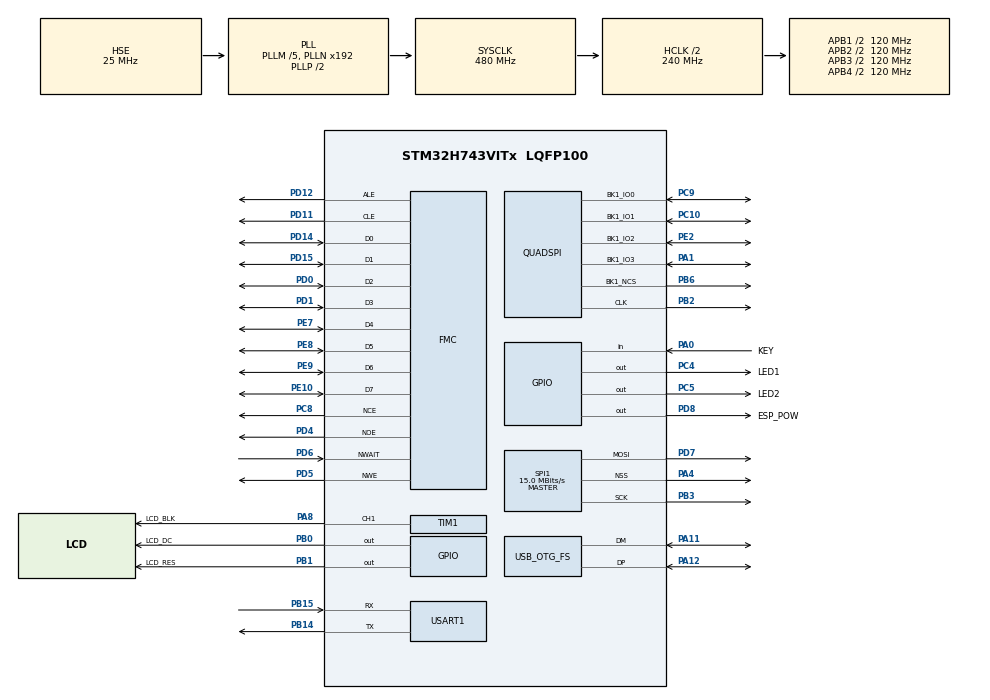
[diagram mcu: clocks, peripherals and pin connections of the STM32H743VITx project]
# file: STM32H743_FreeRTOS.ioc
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Dma.Request0=SPI1_TX
Dma.Request1=USART1_RX
Dma.Request2=USART1_TX
Dma.SPI1_TX.0.Direction=DMA_MEMORY_TO_PERIPH
Dma.SPI1_TX.0.EventEnable=DISABLE
Dma.SPI1_TX.0.FIFOMode=DMA_FIFOMODE_DISABLE
Dma.SPI1_TX.0.Instance=DMA1_Stream0
Dma.SPI1_TX.0.MemDataAlignment=DMA_MDATAALIGN_BYTE
Dma.SPI1_TX.0.MemInc=DMA_MINC_ENABLE
Dma.SPI1_TX.0.Mode=DMA_NORMAL
Dma.SPI1_TX.0.PeriphDataAlignment=DMA_PDATAALIGN_BYTE
Dma.SPI1_TX.0.PeriphInc=DMA_PINC_DISABLE
Dma.SPI1_TX.0.Polarity=HAL_DMAMUX_REQ_GEN_RISING
Dma.SPI1_TX.0.Priority=DMA_PRIORITY_LOW
Dma.SPI1_TX.0.RequestNumber=1
Dma.SPI1_TX.0.SignalID=NONE
Dma.SPI1_TX.0.SyncEnable=DISABLE
Dma.SPI1_TX.0.SyncPolarity=HAL_DMAMUX_SYNC_NO_EVENT
Dma.SPI1_TX.0.SyncRequestNumber=1
Dma.SPI1_TX.0.SyncSignalID=NONE
Dma.USART1_RX.1.Direction=DMA_PERIPH_TO_MEMORY
Dma.USART1_RX.1.EventEnable=DISABLE
Dma.USART1_RX.1.FIFOMode=DMA_FIFOMODE_DISABLE
Dma.USART1_RX.1.Instance=DMA1_Stream1
Dma.USART1_RX.1.MemDataAlignment=DMA_MDATAALIGN_BYTE
Dma.USART1_RX.1.MemInc=DMA_MINC_ENABLE
Dma.USART1_RX.1.Mode=DMA_CIRCULAR
Dma.USART1_RX.1.PeriphDataAlignment=DMA_PDATAALIGN_BYTE
Dma.USART1_RX.1.PeriphInc=DMA_PINC_DISABLE
Dma.USART1_RX.1.Polarity=HAL_DMAMUX_REQ_GEN_RISING
Dma.USART1_RX.1.Priority=DMA_PRIORITY_VERY_HIGH
Dma.USART1_RX.1.RequestNumber=1
Dma.USART1_RX.1.SignalID=NONE
Dma.USART1_RX.1.SyncEnable=DISABLE
Dma.USART1_RX.1.SyncPolarity=HAL_DMAMUX_SYNC_NO_EVENT
Dma.USART1_RX.1.SyncRequestNumber=1
Dma.USART1_RX.1.SyncSignalID=NONE
Dma.USART1_TX.2.Direction=DMA_MEMORY_TO_PERIPH
Dma.USART1_TX.2.EventEnable=DISABLE
Dma.USART1_TX.2.FIFOMode=DMA_FIFOMODE_DISABLE
Dma.USART1_TX.2.Instance=DMA1_Stream2
Dma.USART1_TX.2.MemDataAlignment=DMA_MDATAALIGN_BYTE
Dma.USART1_TX.2.MemInc=DMA_MINC_ENABLE
Dma.USART1_TX.2.Mode=DMA_NORMAL
Dma.USART1_TX.2.PeriphDataAlignment=DMA_PDATAALIGN_BYTE
Dma.USART1_TX.2.PeriphInc=DMA_PINC_DISABLE
Dma.USART1_TX.2.Polarity=HAL_DMAMUX_REQ_GEN_RISING
Dma.USART1_TX.2.Priority=DMA_PRIORITY_VERY_HIGH
Dma.USART1_TX.2.RequestNumber=1
Dma.USART1_TX.2.SignalID=NONE
Dma.USART1_TX.2.SyncEnable=DISABLE
Dma.USART1_TX.2.SyncPolarity=HAL_DMAMUX_SYNC_NO_EVENT
Dma.USART1_TX.2.SyncRequestNumber=1
Dma.USART1_TX.2.SyncSignalID=NONE
FMC.AttributeSpaceHiZSetupTime1=2
FMC.AttributeSpaceHoldSetupTime1=3
FMC.AttributeSpaceSetupTime1=2
FMC.AttributeSpaceWaitSetupTime1=4
FMC.CommonSpaceHiZSetupTime1=2
FMC.CommonSpaceHoldSetupTime1=3
FMC.CommonSpaceSetupTime1=2
FMC.CommonSpaceWaitSetupTime1=4
FMC.ECCPageSize1=FMC_NAND_ECC_PAGE_SIZE_2048BYTE
FMC.NandBlockNbr1=2048
FMC.NandBlockSize1=2048*64
FMC.NandPageSize1=2048+64
FMC.NandPlaneNbr1=2
FMC.NandPlaneSize1=4096
FMC.NandSpareAreaSize1=64
FREERTOS.BinarySemaphores01=Uart_Time_Out_Binary_Sem,Dynamic,NULL;Key_ON_Binary_Sem,Dynamic,NULL
FREERTOS.INCLUDE_vTaskDelayUntil=1
FREERTOS.Tasks01=defaultTask,0,128,StartDefaultTask,Default,NULL,Dynamic,NULL,NULL;KEY_Task,1,256,Start_KEY_Task,Default,NULL,Dynamic,NULL,NULL;LCD_Task,0,256,Start_LCD_Task,Default,NULL,Dynamic,NULL,NULL;Usart_Task,2,512,Start_Usart_Task,Default,NULL,Dynamic,NULL,NULL
FREERTOS.configCHECK_FOR_STACK_OVERFLOW=1
FREERTOS.configGENERATE_RUN_TIME_STATS=1
FREERTOS.configMAX_PRIORITIES=7
FREERTOS.configMINIMAL_STACK_SIZE=128
FREERTOS.configUSE_STATS_FORMATTING_FUNCTIONS=1
FREERTOS.configUSE_TIMERS=1
FREERTOS.configUSE_TRACE_FACILITY=1
Mcu.Family=STM32H7
Mcu.Name=STM32H743VITx
Mcu.Package=LQFP100
Mdma.MDMA_Channel1.QUADSPI_FIFO_TH.0.BlockCount=0
Mdma.MDMA_Channel1.QUADSPI_FIFO_TH.0.BlockDataLength=0
Mdma.MDMA_Channel1.QUADSPI_FIFO_TH.0.BufferTransferLength=128
Mdma.MDMA_Channel1.QUADSPI_FIFO_TH.0.CircularMode=MDMA_LINEAR_LIST
Mdma.MDMA_Channel1.QUADSPI_FIFO_TH.0.DataAlignment=MDMA_DATAALIGN_PACKENABLE
Mdma.MDMA_Channel1.QUADSPI_FIFO_TH.0.DestBlockAddressOffset=0
Mdma.MDMA_Channel1.QUADSPI_FIFO_TH.0.DestBurst=MDMA_DEST_BURST_SINGLE
Mdma.MDMA_Channel1.QUADSPI_FIFO_TH.0.DestDataSize=MDMA_DEST_DATASIZE_BYTE
Mdma.MDMA_Channel1.QUADSPI_FIFO_TH.0.DestinationInc=MDMA_DEST_INC_DISABLE
Mdma.MDMA_Channel1.QUADSPI_FIFO_TH.0.DstAddress=0
Mdma.MDMA_Channel1.QUADSPI_FIFO_TH.0.Endianness=MDMA_LITTLE_ENDIANNESS_PRESERVE
Mdma.MDMA_Channel1.QUADSPI_FIFO_TH.0.Instance=MDMA_Channel1
Mdma.MDMA_Channel1.QUADSPI_FIFO_TH.0.MaskAddress=0
Mdma.MDMA_Channel1.QUADSPI_FIFO_TH.0.MaskData=0
Mdma.MDMA_Channel1.QUADSPI_FIFO_TH.0.Priority=MDMA_PRIORITY_LOW
Mdma.MDMA_Channel1.QUADSPI_FIFO_TH.0.Rank=First
Mdma.MDMA_Channel1.QUADSPI_FIFO_TH.0.SourceBlockAddressOffset=0
Mdma.MDMA_Channel1.QUADSPI_FIFO_TH.0.SourceBurst=MDMA_SOURCE_BURST_SINGLE
Mdma.MDMA_Channel1.QUADSPI_FIFO_TH.0.SourceDataSize=MDMA_SRC_DATASIZE_BYTE
Mdma.MDMA_Channel1.QUADSPI_FIFO_TH.0.SourceInc=MDMA_SRC_INC_BYTE
Mdma.MDMA_Channel1.QUADSPI_FIFO_TH.0.SrcAddress=0
Mdma.MDMA_Channel1.QUADSPI_FIFO_TH.0.TransferTriggerMode=MDMA_BUFFER_TRANSFER
Mdma.MDMA_Channel1.Request0=QUADSPI_FIFO_TH
Mdma.MDMA_Channel1.RequestsNb=1
Mdma.RequestSet0=MDMA_Channel1
Mdma.RequestSetsNb=1
NVIC.DMA1_Stream0_IRQn=true\:5\:0\:false\:false\:true\:true\:false\:true\:true
NVIC.DMA1_Stream1_IRQn=true\:5\:0\:false\:false\:true\:true\:false\:true\:true
NVIC.DMA1_Stream2_IRQn=true\:5\:0\:false\:false\:true\:true\:false\:true\:true
NVIC.MDMA_IRQn=true\:5\:0\:false\:false\:true\:true\:false\:true\:true
NVIC.OTG_FS_IRQn=true\:5\:0\:false\:false\:true\:true\:true\:true\:true
NVIC.PriorityGroup=NVIC_PRIORITYGROUP_4
NVIC.QUADSPI_IRQn=true\:5\:0\:false\:false\:true\:true\:true\:true\:true
NVIC.SPI1_IRQn=true\:5\:0\:false\:false\:true\:true\:true\:true\:true
NVIC.TIM17_IRQn=true\:15\:0\:false\:false\:true\:false\:false\:true\:true
NVIC.TIM8_TRG_COM_TIM14_IRQn=true\:5\:0\:true\:false\:true\:true\:true\:true\:true
NVIC.TIM8_UP_TIM13_IRQn=true\:5\:0\:false\:false\:true\:true\:true\:true\:true
NVIC.TimeBase=TIM17_IRQn
NVIC.TimeBaseIP=TIM17
NVIC.USART1_IRQn=true\:5\:0\:false\:false\:true\:true\:true\:true\:true
PA0.GPIO_Label=KEY
PA0.GPIO_PuPd=GPIO_PULLDOWN
PA0.Signal=GPIO_Input
PA1.GPIO_Speed=GPIO_SPEED_FREQ_VERY_HIGH
PA1.Mode=Single Bank 1
PA1.Signal=QUADSPI_BK1_IO3
PA11.Mode=Device_Only
PA11.Signal=USB_OTG_FS_DM
PA12.Mode=Device_Only
PA12.Signal=USB_OTG_FS_DP
PA13\ (JTMS/SWDIO).Mode=Serial_Wire
PA13\ (JTMS/SWDIO).Signal=DEBUG_JTMS-SWDIO
PA14\ (JTCK/SWCLK).Mode=Serial_Wire
PA14\ (JTCK/SWCLK).Signal=DEBUG_JTCK-SWCLK
PA4.GPIO_Speed=GPIO_SPEED_FREQ_VERY_HIGH
PA4.Mode=NSS_Signal_Hard_Output
PA4.Signal=SPI1_NSS
PA8.GPIO_Label=LCD_BLK
PA8.Signal=S_TIM1_CH1
PB0.GPIO_Label=LCD_DC
PB0.GPIO_Speed=GPIO_SPEED_FREQ_VERY_HIGH
PB0.Signal=GPIO_Output
PB1.GPIO_Label=LCD_RES
PB1.GPIO_Speed=GPIO_SPEED_FREQ_VERY_HIGH
PB1.Signal=GPIO_Output
PB14.Mode=Asynchronous
PB14.Signal=USART1_TX
PB15.GPIO_PuPd=GPIO_PULLUP
PB15.Mode=Asynchronous
PB15.Signal=USART1_RX
PB2.GPIO_Speed=GPIO_SPEED_FREQ_VERY_HIGH
PB2.Mode=Single Bank 1
PB2.Signal=QUADSPI_CLK
PB3\ (JTDO/TRACESWO).GPIO_Speed=GPIO_SPEED_FREQ_VERY_HIGH
PB3\ (JTDO/TRACESWO).Mode=TX_Only_Simplex_Unidirect_Master
PB3\ (JTDO/TRACESWO).Signal=SPI1_SCK
PB6.GPIO_Speed=GPIO_SPEED_FREQ_VERY_HIGH
PB6.Mode=Single Bank 1
PB6.Signal=QUADSPI_BK1_NCS
PC10.GPIO_Speed=GPIO_SPEED_FREQ_VERY_HIGH
PC10.Mode=Single Bank 1
PC10.Signal=QUADSPI_BK1_IO1
PC14-OSC32_IN\ (OSC32_IN).Mode=LSE-External-Oscillator
PC14-OSC32_IN\ (OSC32_IN).Signal=RCC_OSC32_IN
PC15-OSC32_OUT\ (OSC32_OUT).Mode=LSE-External-Oscillator
PC15-OSC32_OUT\ (OSC32_OUT).Signal=RCC_OSC32_OUT
PC4.GPIO_Label=LED1
PC4.GPIO_PuPd=GPIO_PULLUP
PC4.PinState=GPIO_PIN_SET
PC4.Signal=GPIO_Output
PC5.GPIO_Label=LED2
PC5.GPIO_PuPd=GPIO_PULLUP
PC5.PinState=GPIO_PIN_SET
PC5.Signal=GPIO_Output
PC8.Mode=NandChipSelect3_1
PC8.Signal=FMC_NCE
PC9.GPIO_PuPd=GPIO_NOPULL
PC9.GPIO_Speed=GPIO_SPEED_FREQ_VERY_HIGH
PC9.Mode=Single Bank 1
PC9.Signal=QUADSPI_BK1_IO0
PD0.Signal=FMC_D2_DA2
PD1.Signal=FMC_D3_DA3
PD11.Signal=FMC_A16_CLE
PD12.Signal=FMC_A17_ALE
PD14.Signal=FMC_D0_DA0
PD15.Signal=FMC_D1_DA1
PD4.Signal=FMC_NOE
PD5.Signal=FMC_NWE
PD6.GPIO_PuPd=GPIO_PULLUP
PD6.Signal=FMC_NWAIT
PD7.GPIO_Speed=GPIO_SPEED_FREQ_VERY_HIGH
PD7.Mode=TX_Only_Simplex_Unidirect_Master
PD7.Signal=SPI1_MOSI
PD8.GPIO_Label=ESP_POW
PD8.GPIO_PuPd=GPIO_PULLDOWN
PD8.Signal=GPIO_Output
PE10.Signal=FMC_D7_DA7
PE2.GPIO_Speed=GPIO_SPEED_FREQ_VERY_HIGH
PE2.Mode=Single Bank 1
PE2.Signal=QUADSPI_BK1_IO2
PE7.Signal=FMC_D4_DA4
PE8.Signal=FMC_D5_DA5
PE9.Signal=FMC_D6_DA6
PH0-OSC_IN\ (PH0).Mode=HSE-External-Oscillator
PH0-OSC_IN\ (PH0).Signal=RCC_OSC_IN
PH1-OSC_OUT\ (PH1).Mode=HSE-External-Oscillator
PH1-OSC_OUT\ (PH1).Signal=RCC_OSC_OUT
ProjectManager.HeapSize=0x200
ProjectManager.StackSize=0x800
ProjectManager.TargetToolchain=MDK-ARM V5.32
QUADSPI.ChipSelectHighTime=QSPI_CS_HIGH_TIME_2_CYCLE
QUADSPI.ClockPrescaler=2-1
QUADSPI.FifoThreshold=32
QUADSPI.FlashSize=23+1
QUADSPI.SampleShifting=QSPI_SAMPLE_SHIFTING_HALFCYCLE
RCC.ADCFreq_Value=120000000
RCC.APB1Freq_Value=120000000
RCC.APB2Freq_Value=120000000
RCC.APB3Freq_Value=120000000
RCC.APB4Freq_Value=120000000
RCC.CortexFreq_Value=480000000
RCC.D1PPRE=RCC_APB3_DIV2
RCC.D2PPRE1=RCC_APB1_DIV2
RCC.D2PPRE2=RCC_APB2_DIV2
RCC.D3PPRE=RCC_APB4_DIV2
RCC.DIVM1=5
RCC.DIVM2=5
RCC.DIVM3=25
RCC.DIVN1=192
RCC.DIVN2=48
RCC.DIVN3=240
RCC.DIVQ1=5
RCC.DIVQ3=5
RCC.DIVR1=5
RCC.HCLKFreq_Value=240000000
RCC.HPRE=RCC_HCLK_DIV2
RCC.PLL2FRACN=0
RCC.PLL3FRACN=0
RCC.PLLFRACN=0
RCC.PLLSourceVirtual=RCC_PLLSOURCE_HSE
RCC.QSPICLockSelection=RCC_QSPICLKSOURCE_PLL
RCC.SPI123CLockSelection=RCC_SPI123CLKSOURCE_PLL2
RCC.SYSCLKFreq_VALUE=480000000
RCC.SYSCLKSource=RCC_SYSCLKSOURCE_PLLCLK
RCC.USBCLockSelection=RCC_USBCLKSOURCE_PLL3
RCC.USBFreq_Value=48000000
SH.FMC_A16_CLE.0=FMC_CLE,8b-dmux1
SH.FMC_A17_ALE.0=FMC_ALE,8b-dmux1
SH.FMC_D0_DA0.0=FMC_D0,8b-dmux1
SH.FMC_D1_DA1.0=FMC_D1,8b-dmux1
SH.FMC_D2_DA2.0=FMC_D2,8b-dmux1
SH.FMC_D3_DA3.0=FMC_D3,8b-dmux1
SH.FMC_D4_DA4.0=FMC_D4,8b-dmux1
SH.FMC_D5_DA5.0=FMC_D5,8b-dmux1
SH.FMC_D6_DA6.0=FMC_D6,8b-dmux1
SH.FMC_D7_DA7.0=FMC_D7,8b-dmux1
SH.FMC_NOE.0=FMC_NOE,8b-dmux1
SH.FMC_NWAIT.0=FMC_NWAIT,Wait1
SH.FMC_NWE.0=FMC_NWE,8b-dmux1
SH.S_TIM1_CH1.0=TIM1_CH1,PWM Generation1 CH1
SPI1.BaudRatePrescaler=SPI_BAUDRATEPRESCALER_8
SPI1.CalculateBaudRate=15.0 MBits/s
SPI1.DataSize=SPI_DATASIZE_8BIT
SPI1.Direction=SPI_DIRECTION_2LINES_TXONLY
SPI1.Mode=SPI_MODE_MASTER
SPI1.VirtualNSS=VM_NSSHARD
SPI1.VirtualType=VM_MASTER
TIM1.Channel-PWM\ Generation1\ CH1=TIM_CHANNEL_1
TIM1.Period=1000-1
TIM1.Prescaler=24-1
TIM13.Period=5000-1
TIM13.Prescaler=240-1
TIM14.AutoReloadPreload=TIM_AUTORELOAD_PRELOAD_ENABLE
TIM14.Period=2400-1
TIM14.Prescaler=5-1
USART1.VirtualMode-Asynchronous=VM_ASYNC
USB_OTG_FS.VirtualMode=Device_Only
VP_FREERTOS_VS_CMSIS_V1.Mode=CMSIS_V1
VP_SYS_VS_tim17.Mode=TIM17
VP_TIM13_VS_ClockSourceINT.Mode=Enable_Timer
VP_TIM14_VS_ClockSourceINT.Mode=Enable_Timer
VP_TIM1_VS_ClockSourceINT.Mode=Internal
board=custom

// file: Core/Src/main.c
/* USER CODE BEGIN Header */
/**
  ******************************************************************************
  * @file           : main.c
  * @brief          : Main program body
  ******************************************************************************
  * @attention
  *
  * Copyright (c) 2022 STMicroelectronics.
  * All rights reserved.
  *
  * This software is licensed under terms that can be found in the LICENSE file
  * in the root directory of this software component.
  * If no LICENSE file comes with this software, it is provided AS-IS.
  *
  ******************************************************************************
  */
/* USER CODE END Header */
#include "main.h"
#include "cmsis_os.h"
#include "dma.h"
#include "mdma.h"
#include "quadspi.h"
#include "spi.h"
#include "tim.h"
#include "usart.h"
#include "usb_otg.h"
#include "gpio.h"
#include "fmc.h"

/* USER CODE BEGIN Includes */
#include "st7735s.h"
#include "fonts.h"
#include "gfx.h"
/* USER CODE END Includes */

/* USER CODE BEGIN PV */
extern osSemaphoreId Uart_Time_Out_Binary_SemHandle;
/* USER CODE END PV */

void SystemClock_Config(void);
void MX_FREERTOS_Init(void);

/* USER CODE BEGIN 0 */
uint32_t g_JumpInit __attribute__((at(0x20000000), zero_init));

/* USER CODE END 0 */

int main(void)
{
  /* USER CODE BEGIN 1 */
  /*设置中断偏移*/
  SCB->VTOR = FLASH_BASE | 0x100000;

 // g_JumpInit = 2;
  /* USER CODE END 1 */

  /* MCU Configuration--------------------------------------------------------*/

  /* Reset of all peripherals, Initializes the Flash interface and the Systick. */
  HAL_Init();

  /* Configure the system clock */
  SystemClock_Config();

  /* Initialize all configured peripherals */
  MX_GPIO_Init();
  MX_DMA_Init();
  MX_USART1_UART_Init();
  MX_QUADSPI_Init();
  MX_MDMA_Init();
  MX_SPI1_Init();
  MX_USB_OTG_FS_PCD_Init();
  MX_FMC_Init();
  MX_TIM14_Init();
  MX_TIM1_Init();
  MX_TIM13_Init();
  /* USER CODE BEGIN 2 */
  //打开任务统计功能的定时器
  HAL_TIM_Base_Start_IT(&htim14);

  //LCD初始化
  ST7735S_Init();

  /* USER CODE END 2 */

  /* Call init function for freertos objects (in freertos.c) */
  MX_FREERTOS_Init();

  /* Start scheduler */
  osKernelStart();

  /* We should never get here as control is now taken by the scheduler */
  /* Infinite loop */
  while (1)
  {

  }
}

void SystemClock_Config(void)
{
  RCC_OscInitTypeDef RCC_OscInitStruct = {0};
  RCC_ClkInitTypeDef RCC_ClkInitStruct = {0};

  /** Supply configuration update enable
  */
  HAL_PWREx_ConfigSupply(PWR_LDO_SUPPLY);

  /** Configure the main internal regulator output voltage
  */
  __HAL_PWR_VOLTAGESCALING_CONFIG(PWR_REGULATOR_VOLTAGE_SCALE0);

  while(!__HAL_PWR_GET_FLAG(PWR_FLAG_VOSRDY)) {}

  /** Macro to configure the PLL clock source
  */
  __HAL_RCC_PLL_PLLSOURCE_CONFIG(RCC_PLLSOURCE_HSE);

  /** Initializes the RCC Oscillators according to the specified parameters
  * in the RCC_OscInitTypeDef structure.
  */
  RCC_OscInitStruct.OscillatorType = RCC_OSCILLATORTYPE_HSE;
  RCC_OscInitStruct.HSEState = RCC_HSE_ON;
  RCC_OscInitStruct.PLL.PLLState = RCC_PLL_ON;
  RCC_OscInitStruct.PLL.PLLSource = RCC_PLLSOURCE_HSE;
  RCC_OscInitStruct.PLL.PLLM = 5;
  RCC_OscInitStruct.PLL.PLLN = 192;
  RCC_OscInitStruct.PLL.PLLP = 2;
  RCC_OscInitStruct.PLL.PLLQ = 5;
  RCC_OscInitStruct.PLL.PLLR = 5;
  RCC_OscInitStruct.PLL.PLLRGE = RCC_PLL1VCIRANGE_2;
  RCC_OscInitStruct.PLL.PLLVCOSEL = RCC_PLL1VCOWIDE;
  RCC_OscInitStruct.PLL.PLLFRACN = 0;
  if (HAL_RCC_OscConfig(&RCC_OscInitStruct) != HAL_OK)
  {
    Error_Handler();
  }

  /** Initializes the CPU, AHB and APB buses clocks
  */
  RCC_ClkInitStruct.ClockType = RCC_CLOCKTYPE_HCLK|RCC_CLOCKTYPE_SYSCLK
                              |RCC_CLOCKTYPE_PCLK1|RCC_CLOCKTYPE_PCLK2
                              |RCC_CLOCKTYPE_D3PCLK1|RCC_CLOCKTYPE_D1PCLK1;
  RCC_ClkInitStruct.SYSCLKSource = RCC_SYSCLKSOURCE_PLLCLK;
  RCC_ClkInitStruct.SYSCLKDivider = RCC_SYSCLK_DIV1;
  RCC_ClkInitStruct.AHBCLKDivider = RCC_HCLK_DIV2;
  RCC_ClkInitStruct.APB3CLKDivider = RCC_APB3_DIV2;
  RCC_ClkInitStruct.APB1CLKDivider = RCC_APB1_DIV2;
  RCC_ClkInitStruct.APB2CLKDivider = RCC_APB2_DIV2;
  RCC_ClkInitStruct.APB4CLKDivider = RCC_APB4_DIV2;

  if (HAL_RCC_ClockConfig(&RCC_ClkInitStruct, FLASH_LATENCY_4) != HAL_OK)
  {
    Error_Handler();
  }
}

/* USER CODE BEGIN 4 */
extern volatile uint32_t ulHighFrequencyTimerTicks;
/* USER CODE END 4 */

void HAL_TIM_PeriodElapsedCallback(TIM_HandleTypeDef *htim)
{
  /* USER CODE BEGIN Callback 0 */
  if (htim->Instance == TIM17) {
    HAL_IncTick();
  }
  /* USER CODE END Callback 0 */
  if (htim->Instance == TIM14) {
    ulHighFrequencyTimerTicks++;
  }
  /* USER CODE BEGIN Callback 1 */
  if(htim->Instance == TIM13)
  {
    HAL_TIM_Base_Stop(&htim13);
    osSemaphoreRelease(Uart_Time_Out_Binary_SemHandle);
  }
  /* USER CODE END Callback 1 */
}

void Error_Handler(void)
{
  __disable_irq();
  while (1)
  {
  }
}

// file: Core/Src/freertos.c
/* USER CODE BEGIN Header */
/**
 ******************************************************************************
 * File Name          : freertos.c
 * Description        : Code for freertos applications
 ******************************************************************************
 * @attention
 *
 * Copyright (c) 2022 STMicroelectronics.
 * All rights reserved.
 *
 * This software is licensed under terms that can be found in the LICENSE file
 * in the root directory of this software component.
 * If no LICENSE file comes with this software, it is provided AS-IS.
 *
 ******************************************************************************
 */
/* USER CODE END Header */

#include "FreeRTOS.h"
#include "task.h"
#include "main.h"
#include "cmsis_os.h"

/* USER CODE BEGIN Includes */
#include "LCD_Task.h"
#include "Uart_Task.h"
#include "KEY_Task.h"

/* USER CODE END Includes */

osThreadId defaultTaskHandle;
osThreadId KEY_TaskHandle;
osThreadId LCD_TaskHandle;
osThreadId Usart_TaskHandle;
osSemaphoreId Uart_Time_Out_Binary_SemHandle;
osSemaphoreId Key_ON_Binary_SemHandle;

void StartDefaultTask(void const * argument);
void Start_KEY_Task(void const * argument);
void Start_LCD_Task(void const * argument);
void Start_Usart_Task(void const * argument);

void MX_FREERTOS_Init(void); /* (MISRA C 2004 rule 8.1) */

/* GetIdleTaskMemory prototype (linked to static allocation support) */
void vApplicationGetIdleTaskMemory( StaticTask_t **ppxIdleTaskTCBBuffer, StackType_t **ppxIdleTaskStackBuffer, uint32_t *pulIdleTaskStackSize );

/* GetTimerTaskMemory prototype (linked to static allocation support) */
void vApplicationGetTimerTaskMemory( StaticTask_t **ppxTimerTaskTCBBuffer, StackType_t **ppxTimerTaskStackBuffer, uint32_t *pulTimerTaskStackSize );

/* Hook prototypes */
void configureTimerForRunTimeStats(void);
unsigned long getRunTimeCounterValue(void);
void vApplicationStackOverflowHook(xTaskHandle xTask, signed char *pcTaskName);

/* USER CODE BEGIN 1 */
/* Functions needed when configGENERATE_RUN_TIME_STATS is on */
#if (configGENERATE_RUN_TIME_STATS == 1)
volatile uint32_t ulHighFrequencyTimerTicks;
#endif

__weak void configureTimerForRunTimeStats(void)
{
#if (configGENERATE_RUN_TIME_STATS == 1)
  ulHighFrequencyTimerTicks = 0;
#endif
}

__weak unsigned long getRunTimeCounterValue(void)
{
#if (configGENERATE_RUN_TIME_STATS == 1)
  return ulHighFrequencyTimerTicks;
#else
  return 0;
#endif
}
/* USER CODE END 1 */

/* USER CODE BEGIN 4 */
__weak void vApplicationStackOverflowHook(xTaskHandle xTask, signed char *pcTaskName)
{
  /* Run time stack overflow checking is performed if
  configCHECK_FOR_STACK_OVERFLOW is defined to 1 or 2. This hook function is
  called if a stack overflow is detected. */

  uint8_t Buff[50] = "Task:";
  strcat((char *)Buff, (char *)pcTaskName);
  strcat((char *)Buff, " Stack is overflow!\r\n");

  User_UART_Write(&huart1, Buff, sizeof(Buff));
  User_UART_Poll_DMA_TX(&huart1);
}
/* USER CODE END 4 */

/* USER CODE BEGIN GET_IDLE_TASK_MEMORY */
static StaticTask_t xIdleTaskTCBBuffer;
static StackType_t xIdleStack[configMINIMAL_STACK_SIZE];

void vApplicationGetIdleTaskMemory(StaticTask_t **ppxIdleTaskTCBBuffer, StackType_t **ppxIdleTaskStackBuffer, uint32_t *pulIdleTaskStackSize)
{
  *ppxIdleTaskTCBBuffer = &xIdleTaskTCBBuffer;
  *ppxIdleTaskStackBuffer = &xIdleStack[0];
  *pulIdleTaskStackSize = configMINIMAL_STACK_SIZE;
  /* place for user code */
}
/* USER CODE END GET_IDLE_TASK_MEMORY */

/* USER CODE BEGIN GET_TIMER_TASK_MEMORY */
static StaticTask_t xTimerTaskTCBBuffer;
static StackType_t xTimerStack[configTIMER_TASK_STACK_DEPTH];

void vApplicationGetTimerTaskMemory(StaticTask_t **ppxTimerTaskTCBBuffer, StackType_t **ppxTimerTaskStackBuffer, uint32_t *pulTimerTaskStackSize)
{
  *ppxTimerTaskTCBBuffer = &xTimerTaskTCBBuffer;
  *ppxTimerTaskStackBuffer = &xTimerStack[0];
  *pulTimerTaskStackSize = configTIMER_TASK_STACK_DEPTH;
  /* place for user code */
}
/* USER CODE END GET_TIMER_TASK_MEMORY */

void MX_FREERTOS_Init(void) {

  /* Create the semaphores(s) */
  /* definition and creation of Uart_Time_Out_Binary_Sem */
  osSemaphoreDef(Uart_Time_Out_Binary_Sem);
  Uart_Time_Out_Binary_SemHandle = osSemaphoreCreate(osSemaphore(Uart_Time_Out_Binary_Sem), 1);

  /* definition and creation of Key_ON_Binary_Sem */
  osSemaphoreDef(Key_ON_Binary_Sem);
  Key_ON_Binary_SemHandle = osSemaphoreCreate(osSemaphore(Key_ON_Binary_Sem), 1);

  /* Create the thread(s) */
  /* definition and creation of defaultTask */
  osThreadDef(defaultTask, StartDefaultTask, osPriorityNormal, 0, 128);
  defaultTaskHandle = osThreadCreate(osThread(defaultTask), NULL);

  /* definition and creation of KEY_Task */
  osThreadDef(KEY_Task, Start_KEY_Task, osPriorityAboveNormal, 0, 256);
  KEY_TaskHandle = osThreadCreate(osThread(KEY_Task), NULL);

  /* definition and creation of LCD_Task */
  osThreadDef(LCD_Task, Start_LCD_Task, osPriorityNormal, 0, 256);
  LCD_TaskHandle = osThreadCreate(osThread(LCD_Task), NULL);

  /* definition and creation of Usart_Task */
  osThreadDef(Usart_Task, Start_Usart_Task, osPriorityHigh, 0, 512);
  Usart_TaskHandle = osThreadCreate(osThread(Usart_Task), NULL);

}

void StartDefaultTask(void const * argument)
{
  /* USER CODE BEGIN StartDefaultTask */
  /* Infinite loop */
  for (;;)
  {
    HAL_GPIO_TogglePin(LED1_GPIO_Port, LED1_Pin);
    osDelay(800);
  }
  /* USER CODE END StartDefaultTask */
}

void Start_KEY_Task(void const * argument)
{
  /* USER CODE BEGIN Start_KEY_Task */

  /* Infinite loop */
  KEY_Task(argument);

  /* USER CODE END Start_KEY_Task */
}

void Start_LCD_Task(void const * argument)
{
  /* USER CODE BEGIN Start_LCD_Task */

  /* Infinite loop */
  LCD_Task(argument);

  /* USER CODE END Start_LCD_Task */
}

void Start_Usart_Task(void const * argument)
{
  /* USER CODE BEGIN Start_Usart_Task */

  /* Infinite loop */
  Usart_Task(argument);

  /* USER CODE END Start_Usart_Task */
}
